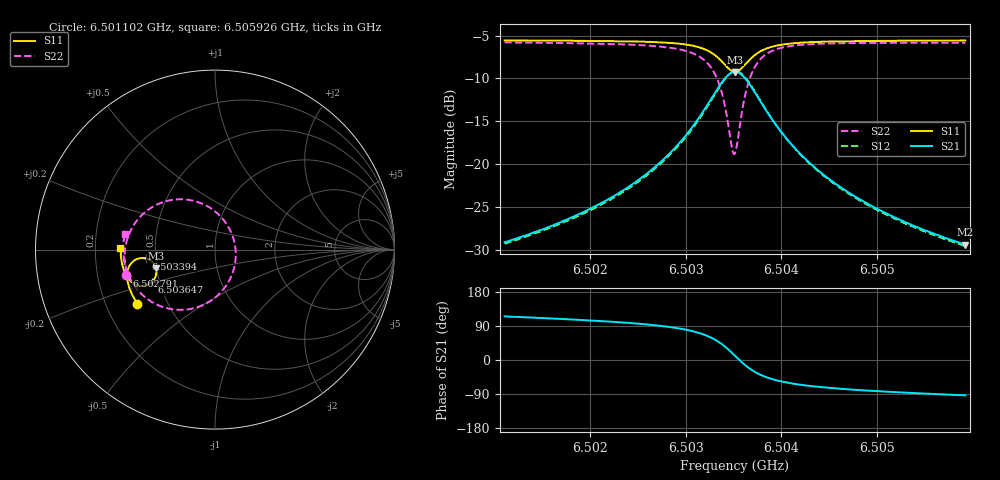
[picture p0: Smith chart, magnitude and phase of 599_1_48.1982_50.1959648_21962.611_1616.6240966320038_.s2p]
#  HZ  S  RI  R  50.00
! Rohde & Schwarz Vector Network Analyzer
! Rohde-Schwarz,ZNB20-2Port,1311601062101988,3.16
! Created: UTC 3/20/2024, 12:02:55 PM
! freq[Hz]  re:S11  im:S11  re:S21  im:S21  re:S12  im:S12  re:S22  im:S22
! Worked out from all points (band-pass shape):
!   401 points, 6.501102 GHz to 6.505926 GHz, reference 50 ohm
!   highest |S21| = -9.23 dB at 6.503514 GHz (marker M1); lowest = -29.4 dB at 6.505926 GHz (marker M2)
!   |S21| within 3 dB of the highest: 6.503274 GHz to 6.503756 GHz (481.9 kHz wide, 0.00741 % of centre)
!   lowest |S11| = -9.2 dB at 6.503514 GHz (marker M3), VSWR 2.06, Z = 24.7 - j5.72 ohm
!   |S11| at or under -10 dB: nowhere
!   |S22| runs from -18.8 to -5.8 dB; largest |S21 - S12| = 0.012
!   S11 on the Smith chart (normalised r, x): 6.501102 GHz: 0.34, -0.28; 6.502791 GHz: 0.33, -0.13; 6.503394 GHz: 0.44, -0.05; 6.503647 GHz: 0.45, -0.19; 6.505926 GHz: 0.31, +0.01
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6.5011024e9  -0.433 -0.3005  -0.0148 0.0316  -0.0131 0.0317  -0.4932 -0.1421
6.5019103e9  -0.4669 -0.2395  -0.0139 0.05  -0.0116 0.0497  -0.5042 -0.0539
6.5023686e9  -0.4823 -0.1977  -0.0106 0.0709  -0.00761 0.0697  -0.4994 0.014
6.5027183e9  -0.4899 -0.1574  -0.00101 0.1007  0.00251 0.0983  -0.4781 0.0878
6.5027906e9  -0.4903 -0.1475  0.00311 0.1098  0.00668 0.1071  -0.4693 0.1074
6.5029956e9  -0.4863 -0.114  0.0247 0.1439  0.0284 0.1397  -0.4239 0.1752
6.5031524e9  -0.4712 -0.0818  0.065 0.1805  0.0676 0.1747  -0.3457 0.2393
6.5032971e9  -0.4325 -0.052  0.1482 0.2096  0.1487 0.2036  -0.1944 0.2805
6.5033936e9  -0.3851 -0.0493  0.2413 0.1926  0.2412 0.1885  -0.0335 0.2366
6.503478e9  -0.3411 -0.0791  0.3208 0.1166  0.3235 0.113  0.0941 0.087
6.5035142e9  -0.3301 -0.1018  0.339 0.0669  0.3428 0.062  0.1152 -0.00637
6.5035383e9  -0.327 -0.1183  0.3424 0.0316  0.3468 0.0253  0.1128 -0.0711
6.5035744e9  -0.3292 -0.143  0.3349 -0.0195  0.3389 -0.0282  0.0848 -0.1619
6.5036468e9  -0.352 -0.1811  0.2871 -0.0975  0.2875 -0.1088  -0.0275 -0.2877
6.503695e9  -0.3728 -0.1949  0.2461 -0.1267  0.2437 -0.1382  -0.1133 -0.3252
6.5037553e9  -0.3985 -0.2018  0.1982 -0.1436  0.1932 -0.1534  -0.2074 -0.3354
6.5039121e9  -0.4465 -0.1925  0.1126 -0.1392  0.1056 -0.1448  -0.3616 -0.2857
6.5040809e9  -0.4747 -0.1712  0.0661 -0.1178  0.0599 -0.1202  -0.4364 -0.2182
6.5043221e9  -0.496 -0.1414  0.0352 -0.092  0.0302 -0.0927  -0.4811 -0.1437
6.5046718e9  -0.5114 -0.1037  0.0159 -0.0682  0.0125 -0.0679  -0.5038 -0.0698
6.50513e9  -0.5213 -0.0604  0.00527 -0.0501  0.00297 -0.0494  -0.5108 -0.00201
6.5059259e9  -0.5265 0.00764  -0.00191 -0.0338  -0.00338 -0.033  -0.5039 0.0847
